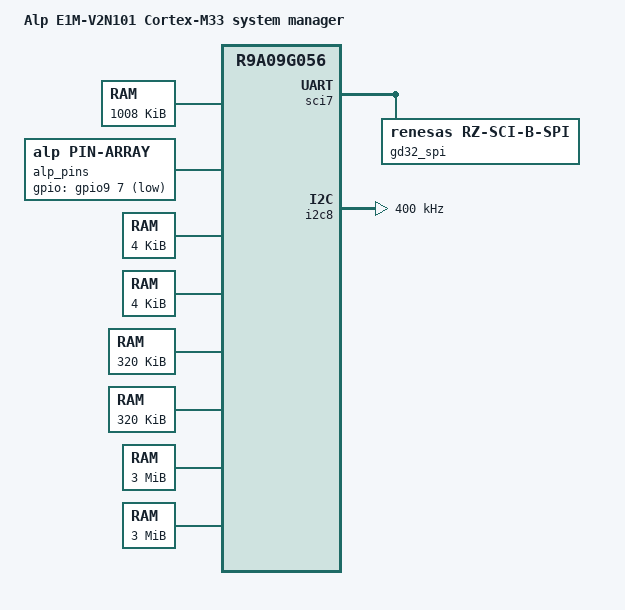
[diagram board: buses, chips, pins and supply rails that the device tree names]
/*
 * Copyright (c) 2026 Alp Lab AB
 * SPDX-License-Identifier: Apache-2.0
 *
 * E1M-V2N101 (RZ/V2N R9A09G056-N44) Cortex-M33 system-manager.
 *
 * Reuses the upstream RZ/V2N SoC devicetree + the EVK SCI_UART0 console and
 * adds the on-module GD32G553 supervisor links:
 *   - SCI7 Simple-SPI (alias alp-spi1): P76 MOSI7 / P77 MISO7 / P96 SCK7 +
 *     P97 GPIO chip-select (master SCI-SPI has no hardware slave-select)
 *   - RIIC8 / BRD_I2C (alias alp-i2c0): P06 SDA / P07 SCL  (GD32 slave @ 0x70)
 *
 * The on-module silicon is the n44 variant; Zephyr only models the n48gbg
 * SoC, which is devicetree-identical for the M33 + SPI/I2C peripherals
 * (the n44/n48 delta is GPU/ISP/crypto fusing only).
 */

/dts-v1/;

#include <zephyr/dt-bindings/i2c/i2c.h>
#include <zephyr/dt-bindings/gpio/gpio.h>
#include <zephyr/dt-bindings/memory-attr/memory-attr-arm.h>
#include <arm/renesas/rz/rzv/r9a09g056.dtsi>
#include "alp_e1m_v2n101_m33_sm-pinctrl.dtsi"

/ {
	model = "Alp E1M-V2N101 Cortex-M33 system manager";
	compatible = "alp,e1m-v2n101-m33-sm";

	chosen {
		zephyr,sram = &sram;
		/*
		 * No CM33 serial console on this board.  The only console is the
		 * A55's (Linux, on the shared debug UART); sci0 here is the EVK
		 * "Pmod USB-UART", which is NOT wired as a CM33 console on the SoM.
		 * Bringing it up enables RX on a floating RXD, whose receive-error
		 * interrupt (sci0 eri = NVIC 114) escalates to a Zephyr fatal
		 * (arch_system_halt) and hangs the CM33 before main() ever runs.
		 * Leave the console unset (sci0 is disabled below).  Re-add these
		 * and re-enable sci0 only when a Pmod USB-UART is attached.
		 */
	};

	aliases {
		alp-spi1 = &gd32_spi;
		alp-i2c0 = &i2c8;
	};

	sram: memory@8003000 {
		compatible = "mmio-sram";
		reg = <0x08003000 0xfbfff>;
	};

	/*
	 * alp pin map for alp_spi/alp_gpio id resolution.  alp_spi_open(cs_pin_id=N)
	 * resolves its chip-select gpio_dt_spec from gpios[N] of this node (see the
	 * SPI backend's alp_z_gpio_resolve()).  Index 0 = the GD32 SPI chip-select
	 * on P97, matching the example's cs_pin_id = 0.
	 */
	alp_pins: alp-pins {
		compatible = "alp,pin-array";
		gpios = <&gpio9 7 GPIO_ACTIVE_LOW>;
	};
};

/*
 * sci0 = EVK "Pmod USB-UART" console.  DISABLED on this board: it is not wired
 * as a CM33 console here, and opening it (RX enabled on a floating RXD) faults
 * the CM33 in its receive-error ISR (sci0 eri / NVIC 114) -> Zephyr fatal ->
 * arch_system_halt, before the app runs.  Keep pinctrl for easy re-enable.
 */
&sci0 {
	pinctrl-0 = <&sci0_pins>;
	pinctrl-names = "default";
	status = "disabled";

	uart0: uart {
		current-speed = <115200>;
		status = "disabled";
	};
};

/*
 * GD32 supervisor SPI fast path -- SCI channel 7 in clock-synchronous
 * "Simple SPI" mode (sci7@42802800, compatible renesas,rz-sci-b).  The board
 * wires the GD32 to P76/P77/P96/P97, which per the RZ/V2N PFC (Table 1.2-3) are
 * MOSI7/MISO7/SCK7/SS7 = SCI channel 7 -- NOT the dedicated SPI_B IP.  The sci7
 * parent (from the SoC dtsi) already supplies reg, channel = <7> and the fixed
 * CM33 vectors (eri=156, rxi=157, txi=158, tei=159); here we enable it, point it
 * at the SCI7 SPI pins, and attach the SPI child.
 *
 * Master Simple-SPI has NO hardware slave-select (the FSP sets CCR0.SSE only in
 * slave mode), so the GD32 chip-select on P97 is driven as a GPIO via cs-gpios
 * (gpio9 pin 7) -- the GD32's PA8 CS-EXTI needs per-transaction framing.
 */
&sci7 {
	pinctrl-0 = <&sci7_spi_pins>;
	pinctrl-names = "default";
	status = "okay";

	gd32_spi: spi {
		compatible = "renesas,rz-sci-b-spi";
		#address-cells = <1>;
		#size-cells = <0>;
		cs-gpios = <&gpio9 7 GPIO_ACTIVE_LOW>;
		status = "okay";
	};
};

&gpio9 {
	status = "okay";
};

&i2c8 {
	pinctrl-0 = <&i2c8_pins>;
	pinctrl-names = "default";
	clock-frequency = <I2C_BITRATE_FAST>;
	status = "okay";
};

/*
 * OpenAMP / RPMsg carve-out for the M33-SM <-> A55-Linux link (alp-sdk #683,
 * Path B Phase 1).  Addresses are the Renesas RZ/V Multi-OS Package memory
 * map, NOT the paper `ipc:` carve-out in this project's board.yaml (still
 * ocram_low pending a follow-up that reconciles the two -- see #683).
 *
 * CORRECTED (alp-sdk #683, address root-cause fix): this region used to be
 * quoted at the RZ/V2L CM33-NS offset (0x62f00000, i.e. A55 - 0x20000000),
 * which is the V2N xSPI-NOR secure window on THIS SoC -- writes there never
 * reach DRAM.  The authoritative V2N map (Renesas FSP
 * drivers/rz/fsp/src/rzv/bsp/mcu/rzv2n/bsp_slave_address.h, confirmed by
 * this board's upstream ddr node) is CM33-secure 0x80000000 / CM33-NS
 * 0x90000000 / A55 0x40000000, a 256 MiB window, i.e. A55 phys = CM33-NS -
 * 0x50000000.  Of that window only A55 0x48000000..0x4FFFFFFF is real,
 * populated NS RAM (0x40000000..0x47FFFFFF reads back 0xFF) -- the base
 * below is chosen so the whole carve-out (0x4F700000..0x4FFFFFFF) sits
 * entirely inside that populated range, right up against its top.  The
 * rsctbl/vring/shm regions below are all quoted in the CM33 view, matching
 * upstream's openamp_linux_zephyr sample; see resource_table.h for the
 * CM33->A55 translation macro this same fix corrected.
 *
 * mbox1 is hand-authored: unlike the RZ/V2L SoC dtsi (r9a07g054.dtsi, which
 * ships mbox1/mbox3/mbox4/mbox5), the upstream RZ/V2N SoC dtsi
 * (r9a09g056.dtsi) has no MHU node at all yet -- added here at board level
 * per the "board .dts stays hand-authored for the v2n family"
 * (scripts/gen_zephyr_board.py) rather than editing the vendored SoC dtsi.
 *
 * RESOLVED (alp-sdk #683 Phase 2): RZ/V2N's MHU hardware is the newer "MHU-B"
 * variant (hal_renesas drivers/rz/fsp/src/rzv/bsp/mcu/rzv2n/bsp_mhu_b.h) with
 * only channels {5, 11, 17, 23} valid (BSP_FEATURE_MHU_B_NS_VALID_CHANNEL_MASK)
 * and a non-linear per-channel register/IRQ pairing -- NOT the plain linear MHU
 * that Zephyr's mbox_renesas_rz_mhu.c + FSP r_mhu_ns.c implement (that pair does
 * not compile for rzv2n). This node now uses the vendored MHU-B port instead
 * (compatible `renesas,rz-mhu-b-mbox`, driver
 * zephyr/drivers/mbox/mbox_renesas_rz_mhu_b.c, FSP module
 * zephyr/drivers/mbox/r_mhu_b_ns/r_mhu_b_ns.c -- see that file's header for the
 * register-semantic notes and BENCH-UNVERIFIED caveat).
 * `channel = <5>` is the lowest MHU-B-valid channel.  Per bsp_mhu_b.h's
 * R_BSP_MHU_B_NS_REG_PAIR_BODY, channel 5 sends via R_MHU_NS36 (base
 * 0x50480480) and receives via R_MHU_NS8 (base 0x50480100) -- `reg` below
 * documents the send register only (the driver resolves both from the
 * pair-body table by channel number, not from this property; the binding
 * schema requires `reg` regardless).  `interrupts = <293 2>` is
 * MHU_MSG5_NS_IRQn (bsp_irq_id.h), which r_mhu_b_ns.c matches against
 * bsp_mhu_b.h's R_BSP_MHU_B_NS_SEND_TYPE_RSP_BODY to derive send_type = RSP
 * for this instance.
 */
/ {
	reserved-memory {
		#address-cells = <1>;
		#size-cells = <1>;
		ranges;

		/* Whole OpenAMP region as one reservation to save MPU entries
		 * (matches the vendor sample's rationale). */
		openamp_shm: memory@9f700000 {
			compatible = "zephyr,memory-region";
			reg = <0x9f700000 0x900000>;
			zephyr,memory-region = "openamp_memory";
			zephyr,memory-attr = <DT_MEM_ARM(ATTR_MPU_IO)>;
		};
	};

	chosen {
		/* The A55 master (DRIVER role) allocates every rpmsg buffer from
		 * vring_shm1 (0x4fc00000 A55 / 0x9fc00000 CM33-NS) -- the
		 * "mst-alloc = vring-shm1" contract in the backend REFERENCE.  The
		 * M33's descriptor-translation window MUST cover that pool, so it
		 * points at vring_shm1, not vring_shm0 (whose window ends exactly at
		 * 0x9fc00000, leaving every buffer outside it).  Silicon-root-caused
		 * alongside the vring-DA fix (#683/#697 bench, 2026-07-11). */
		zephyr,ipc_shm = &vring_shm1;
		zephyr,ipc = &mbox_consumer;
	};

	rsctbl: memory@9f700000 {
		compatible = "mmio-sram";
		reg = <0x9f700000 0x1000>;
	};

	/* Widened from the RZ/V2L layout's 8-byte mhu1_shm (@ +0x1008) to a
	 * full 4 KiB region immediately after rsctbl, so it lines up with the
	 * A55/kernel-overlay side's 4f701000.mhu-shm node 1:1 (alp-sdk #683
	 * address fix). */
	mhu1_shm: memory@9f701000 {
		compatible = "mmio-sram";
		reg = <0x9f701000 0x1000>;
	};

	vring_ctrl0: memory@9f800000 {
		compatible = "mmio-sram";
		reg = <0x9f800000 0x50000>;
	};

	vring_ctrl1: memory@9f850000 {
		compatible = "mmio-sram";
		reg = <0x9f850000 0x50000>;
	};

	vring_shm0: memory@9f900000 {
		compatible = "mmio-sram";
		reg = <0x9f900000 0x300000>;
	};

	/* The rpmsg buffer pool: the A55 master allocates from here, so this is
	 * the M33's zephyr,ipc_shm window (see the chosen node above).
	 * vring_shm0 is kept reserved so the region layout still matches the A55
	 * kernel overlay's 6 nodes 1:1. */
	vring_shm1: memory@9fc00000 {
		compatible = "mmio-sram";
		reg = <0x9fc00000 0x300000>;
	};

	mbox_consumer: mbox-consumer {
		compatible = "vnd,mbox-consumer";
		mboxes = <&mbox1 1>, <&mbox1 0>;
		mbox-names = "tx", "rx";
	};

	soc {
		/* CA55_0 <-> CM33 -- see the MHU-B note above. */
		mbox1: mhu@50480480 {
			compatible = "renesas,rz-mhu-b-mbox";
			channel = <5>;
			reg = <0x50480480 0x20>; /* R_MHU_NS36 (send reg) -- see the MHU-B note above */
			tx-mask = <0x00000002>; /* Channel 1 is for TX */
			rx-mask = <0x00000001>; /* Channel 0 is for RX */
			channels-count = <2>;
			interrupts = <293 2>; /* MHU_MSG5_NS_IRQn, bsp_irq_id.h -- verified against the vendor header */
			interrupt-names = "mhuns";
			#mbox-cells = <1>;
			shared-memory = <&mhu1_shm>;
			status = "okay";
		};
	};
};
